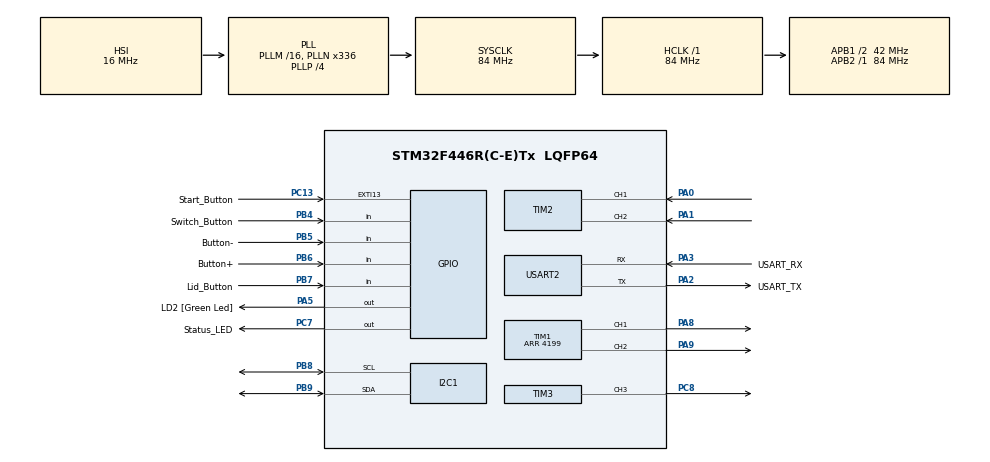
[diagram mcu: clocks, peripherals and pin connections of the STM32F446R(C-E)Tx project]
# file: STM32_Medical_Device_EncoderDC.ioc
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Mcu.Family=STM32F4
Mcu.Name=STM32F446R(C-E)Tx
Mcu.Package=LQFP64
NVIC.EXTI15_10_IRQn=true\:0\:0\:false\:false\:true\:true\:true\:true
NVIC.PriorityGroup=NVIC_PRIORITYGROUP_4
NVIC.TIM6_DAC_IRQn=true\:1\:0\:true\:false\:true\:true\:true\:true
PA0-WKUP.Signal=S_TIM2_CH1_ETR
PA1.Signal=S_TIM2_CH2
PA13.GPIO_Label=TMS
PA13.Mode=Serial_Wire
PA13.Signal=SYS_JTMS-SWDIO
PA14.GPIO_Label=TCK
PA14.Mode=Serial_Wire
PA14.Signal=SYS_JTCK-SWCLK
PA2.GPIO_Label=USART_TX
PA2.Mode=Asynchronous
PA2.Signal=USART2_TX
PA3.GPIO_Label=USART_RX
PA3.Mode=Asynchronous
PA3.Signal=USART2_RX
PA5.GPIO_Label=LD2 [Green Led]
PA5.Signal=GPIO_Output
PA8.Signal=S_TIM1_CH1
PA9.Signal=S_TIM1_CH2
PB3.GPIO_Label=SWO
PB3.Signal=SYS_JTDO-SWO
PB4.GPIO_Label=Switch_Button
PB4.GPIO_PuPd=GPIO_PULLUP
PB4.Signal=GPIO_Input
PB5.GPIO_Label=Button-
PB5.GPIO_PuPd=GPIO_PULLUP
PB5.Signal=GPIO_Input
PB6.GPIO_Label=Button+
PB6.GPIO_PuPd=GPIO_PULLUP
PB6.Signal=GPIO_Input
PB7.GPIO_Label=Lid_Button
PB7.GPIO_PuPd=GPIO_PULLUP
PB7.Signal=GPIO_Input
PB8.Mode=I2C
PB8.Signal=I2C1_SCL
PB9.Mode=I2C
PB9.Signal=I2C1_SDA
PC13.GPIO_Label=Start_Button
PC13.GPIO_ModeDefaultEXTI=GPIO_MODE_IT_FALLING
PC13.Signal=GPXTI13
PC14-OSC32_IN.Mode=LSE-External-Oscillator
PC14-OSC32_IN.Signal=RCC_OSC32_IN
PC15-OSC32_OUT.Mode=LSE-External-Oscillator
PC15-OSC32_OUT.Signal=RCC_OSC32_OUT
PC7.GPIO_Label=Status_LED
PC7.Signal=GPIO_Output
PC8.Signal=S_TIM3_CH3
PH0-OSC_IN.Mode=HSE-External-Oscillator
PH0-OSC_IN.Signal=RCC_OSC_IN
PH1-OSC_OUT.Mode=HSE-External-Oscillator
PH1-OSC_OUT.Signal=RCC_OSC_OUT
ProjectManager.HeapSize=0x200
ProjectManager.StackSize=0x400
ProjectManager.TargetToolchain=CMake
RCC.48MHZClocksFreq_Value=84000000
RCC.AHBFreq_Value=84000000
RCC.APB1CLKDivider=RCC_HCLK_DIV2
RCC.APB1Freq_Value=42000000
RCC.APB1TimFreq_Value=84000000
RCC.APB2Freq_Value=84000000
RCC.APB2TimFreq_Value=84000000
RCC.CortexFreq_Value=84000000
RCC.FLatency-AdvancedSettings=FLASH_LATENCY_2
RCC.HCLKFreq_Value=84000000
RCC.HSE_VALUE=8000000
RCC.HSI_VALUE=16000000
RCC.PLLN=336
RCC.PLLP=RCC_PLLP_DIV4
RCC.SYSCLKFreq_VALUE=84000000
RCC.SYSCLKSource=RCC_SYSCLKSOURCE_PLLCLK
RCC.USBFreq_Value=168000000
RCC.VCOOutputFreq_Value=336000000
SH.S_TIM1_CH1.0=TIM1_CH1,PWM Generation1 CH1
SH.S_TIM1_CH2.0=TIM1_CH2,PWM Generation2 CH2
SH.S_TIM2_CH1_ETR.0=TIM2_CH1,Encoder_Interface
SH.S_TIM2_CH2.0=TIM2_CH2,Encoder_Interface
SH.S_TIM3_CH3.0=TIM3_CH3,PWM Generation3 CH3
TIM1.Channel-PWM\ Generation1\ CH1=TIM_CHANNEL_1
TIM1.Channel-PWM\ Generation2\ CH2=TIM_CHANNEL_2
TIM1.Period=4199
TIM2.EncoderMode=TIM_ENCODERMODE_TI12
TIM2.IC1Filter=15
TIM2.IC2Filter=15
TIM3.Channel-PWM\ Generation3\ CH3=TIM_CHANNEL_3
TIM3.Period=59999
TIM3.Prescaler=27
TIM6.Period=59999
TIM6.Prescaler=13
USART2.VirtualMode=VM_ASYNC
VP_TIM1_VS_ClockSourceINT.Mode=Internal
VP_TIM3_VS_ClockSourceINT.Mode=Internal
VP_TIM6_VS_ClockSourceINT.Mode=Enable_Timer
board=NUCLEO-F446RE

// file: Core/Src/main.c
/* USER CODE BEGIN Header */
/**
  ******************************************************************************
  * @file           : main.c
  * @brief          : Main program body
  ******************************************************************************
  * @attention
  *
  * Copyright (c) 2026 STMicroelectronics.
  * All rights reserved.
  *
  * This software is licensed under terms that can be found in the LICENSE file
  * in the root directory of this software component.
  * If no LICENSE file comes with this software, it is provided AS-IS.
  *
  ******************************************************************************
  */
/* USER CODE END Header */
#include "main.h"
#include "i2c.h"
#include "tim.h"
#include "usart.h"
#include "gpio.h"

/* USER CODE BEGIN Includes */
#include "buttons.h"
#include "pid.h"
#include "stdbool.h"
#include "E-STOP.h"
#include "state.h"
#include "display.h"
/* USER CODE END Includes */

/* USER CODE BEGIN PV */

// **** ENCODER ****
volatile uint32_t uwDirection = 0;
volatile int32_t  iCount = 0;
volatile float rpm = 0.0f;
static int32_t prevCount = 0; // previous encoder count, used to compute delta for speed calculation

// **** LID ****
volatile bool lid_open = false; // is the lid open or not? true for lid open and false for locked -> the value of that variable is checked during the first 10 ms of the program, so value assignment does not matter (however "false" is safer theoretically)

// **** SYSTEM STATUS AND EDIT MODE ****
volatile SystemStatus_t systemStatus = IDLE;
volatile EditMode_t     editMode    = EDIT_SPEED;

// **** USER DESIRED PARAMETERS ****
// Desired DC motor speed
volatile int16_t        targetRPM   = 0;
// Desired DC motor work time in a single task
volatile int16_t        targetTimeSec = 0;

// **** DC MOTOR ****
#define MAX_DC_SPEED 330 // Pololu 4752 dataSheet: Rotational speed at 12 V power supply: 330 rpm

// **** PID ramp ****
#define RAMP_RATE_RPM_PER_S   60.0f // max rate of change of the setpoint (RPM per second)
static float rampedSetpoint = 0.0f; // current ramped setpoint, output of Ramp_Update

// **** TIME-BASED AUTO-STOP ****
volatile uint32_t runStartTick = 0; // timestamp (HAL_GetTick) of when RUNNING started, used to measure elapsed time
volatile uint8_t stopping = 0; // 0/1 - 1 indicates that the DC motor is slowing down to 0 rpm

// **** SERVO ****
volatile uint32_t ServoStartTick = 0; // variable for servo delay counter
volatile uint8_t servoPending = 0; // flag to notify servo if the machine finished and servo can now wait its own delay till it is opened
volatile bool servoLocked; // current commanded position of the lock servo (true = locked, false = open) -> this is only a flag for OLED display
#define SERVO_OPEN_DELAY 10000 // How much time must pass for servo to open after the machine finished its work?
#define SERVO_MAX_WAIT 60000 // Max wait time for the motor to stop; servo opens after this time even if the motor hasn't fully stopped yet
#define SERVO_PWM_OPEN 3000 // PWM value for open servo lock
#define SERVO_PWM_LOCKED 6000 // PWM value for closed servo lock

/* USER CODE END PV */

void SystemClock_Config(void);

int main(void)
{

  /* MCU Configuration--------------------------------------------------------*/

  /* Reset of all peripherals, Initializes the Flash interface and the Systick. */
  HAL_Init();

  /* Configure the system clock */
  SystemClock_Config();

  /* Initialize all configured peripherals */
  MX_GPIO_Init();
  MX_USART2_UART_Init();
  MX_TIM1_Init();
  MX_I2C1_Init();
  MX_TIM2_Init();
  MX_TIM6_Init();
  MX_TIM3_Init();
  /* USER CODE BEGIN 2 */

  /* Start the encoder interface */
  HAL_TIM_Encoder_Start(&htim2, TIM_CHANNEL_ALL);

  /* Start TIM6 in interrupt mode */
  HAL_TIM_Base_Start_IT(&htim6);
  HAL_TIM_Base_Start(&htim3);

  /* Start PWM channels for the motor driver (IN1/IN2) */
  HAL_TIM_PWM_Start(&htim1, TIM_CHANNEL_1);
  HAL_TIM_PWM_Start(&htim1, TIM_CHANNEL_2);
  HAL_TIM_PWM_Start(&htim3, TIM_CHANNEL_3);

  // Always start the system with the lock open - never assume the servo's physical position
  __HAL_TIM_SET_COMPARE(&htim3, TIM_CHANNEL_3, SERVO_PWM_OPEN);
  servoLocked = false;

  Display_Init();

  /* USER CODE END 2 */

  /* Infinite loop */
  /* USER CODE BEGIN WHILE */
  while (1)
  {

    Display_Update();

    /* USER CODE END WHILE */

  }
}

void SystemClock_Config(void)
{
  RCC_OscInitTypeDef RCC_OscInitStruct = {0};
  RCC_ClkInitTypeDef RCC_ClkInitStruct = {0};

  /** Configure the main internal regulator output voltage
  */
  __HAL_RCC_PWR_CLK_ENABLE();
  __HAL_PWR_VOLTAGESCALING_CONFIG(PWR_REGULATOR_VOLTAGE_SCALE3);

  /** Initializes the RCC Oscillators according to the specified parameters
  * in the RCC_OscInitTypeDef structure.
  */
  RCC_OscInitStruct.OscillatorType = RCC_OSCILLATORTYPE_HSI;
  RCC_OscInitStruct.HSIState = RCC_HSI_ON;
  RCC_OscInitStruct.HSICalibrationValue = RCC_HSICALIBRATION_DEFAULT;
  RCC_OscInitStruct.PLL.PLLState = RCC_PLL_ON;
  RCC_OscInitStruct.PLL.PLLSource = RCC_PLLSOURCE_HSI;
  RCC_OscInitStruct.PLL.PLLM = 16;
  RCC_OscInitStruct.PLL.PLLN = 336;
  RCC_OscInitStruct.PLL.PLLP = RCC_PLLP_DIV4;
  RCC_OscInitStruct.PLL.PLLQ = 2;
  RCC_OscInitStruct.PLL.PLLR = 2;
  if (HAL_RCC_OscConfig(&RCC_OscInitStruct) != HAL_OK)
  {
    Error_Handler();
  }

  /** Initializes the CPU, AHB and APB buses clocks
  */
  RCC_ClkInitStruct.ClockType = RCC_CLOCKTYPE_HCLK|RCC_CLOCKTYPE_SYSCLK
                              |RCC_CLOCKTYPE_PCLK1|RCC_CLOCKTYPE_PCLK2;
  RCC_ClkInitStruct.SYSCLKSource = RCC_SYSCLKSOURCE_PLLCLK;
  RCC_ClkInitStruct.AHBCLKDivider = RCC_SYSCLK_DIV1;
  RCC_ClkInitStruct.APB1CLKDivider = RCC_HCLK_DIV2;
  RCC_ClkInitStruct.APB2CLKDivider = RCC_HCLK_DIV1;

  if (HAL_RCC_ClockConfig(&RCC_ClkInitStruct, FLASH_LATENCY_2) != HAL_OK)
  {
    Error_Handler();
  }
}

/* USER CODE BEGIN 4 */

#define COUNTS_PER_REV_OUTPUT   1920.0f   //  64 CPR x 30:1 gearbox Pololu datasheet
#define SAMPLE_TIME_S           0.01f     // 100 Hz from TIM6 -> 0,01 s

// TIM6 callback (100 Hz) - computes direction, position and motor RPM
void HAL_TIM_PeriodElapsedCallback(TIM_HandleTypeDef *htim)
{

// **** RPM CALCULATION ****

if (htim->Instance == TIM6) {

  uwDirection = __HAL_TIM_IS_TIM_COUNTING_DOWN(&htim2);
  iCount = (int32_t)__HAL_TIM_GET_COUNTER(&htim2) / 4;

  int32_t delta = iCount - prevCount;
  prevCount = iCount;

  rpm = (delta / COUNTS_PER_REV_OUTPUT) * (60.0f / SAMPLE_TIME_S);
}

// **** LID CHECK ****

lid_open = HAL_GPIO_ReadPin(Lid_Button_GPIO_Port, Lid_Button_Pin);

// Set systemStatus to E-STOP and zero the PWM signal if someone managed to open the lid while the system is RUNNING
if (systemStatus == RUNNING && lid_open) {
// Initialize stop of DC motor
TriggerEStop();
}

// **** BUTTONS HANDLE ****

// Enable the change of the parameters only if the system is in IDLE
if (systemStatus == IDLE) {

// Change of the edit mode with switch_button
if (Button_Update(&btnSwitch)) {
  editMode = (editMode == EDIT_SPEED) ? EDIT_TIME : EDIT_SPEED;
}
// Change of the rpm and work time with Button+ and Button-
if (Button_Update(&btnPlus)) {
  if (editMode == EDIT_SPEED) {
    if (targetRPM < 6000) {
    targetRPM += 10;
    }
  }
 else {
  if (targetTimeSec < 3600) {
    targetTimeSec += 60;
  }
}
}
if (Button_Update(&btnMinus)) {
  if (editMode == EDIT_SPEED) {
    if (targetRPM >= 10) {
      targetRPM -= 10;
    }
  }
  else {
    if (targetTimeSec >= 60) {
      targetTimeSec -= 60;
    }
  }
}
}

// **** PWM HANDLE ****

if (systemStatus == RUNNING) {

  // Check if the configured run time has elapsed, and if so, start the smooth stop
  if (!stopping)  {
    uint32_t elapsedSec = (HAL_GetTick() - runStartTick) / 1000;
    if (elapsedSec >= (uint32_t)targetTimeSec) {
      stopping = 1;
    }
  }
  float effectiveTarget = stopping ? 0.0f : (float)targetRPM;

  // Move the setpoint gradually, smoothly towards effectiveTarget instead of step change
  rampedSetpoint = Ramp_Update(rampedSetpoint, effectiveTarget, RAMP_RATE_RPM_PER_S, SAMPLE_TIME_S);
  // Compare the rampedSetpoint (goal for right now) with the actual measured speed
  float pidOutput = PID_Compute(rampedSetpoint, rpm);

  /* Check systemStatus again right before writing to CCR - if EXTI (higher priority than this callback) just fired and switched to E_STOP, it already zeroed CCR; this re-check prevents the write below from overwriting that zero */
  if (systemStatus == RUNNING) {
  if (pidOutput > 0) {
    __HAL_TIM_SET_COMPARE(&htim1, TIM_CHANNEL_1, (uint32_t)pidOutput);
    __HAL_TIM_SET_COMPARE(&htim1, TIM_CHANNEL_2, 0);
  }
  else {
    __HAL_TIM_SET_COMPARE(&htim1, TIM_CHANNEL_1, 0);
    __HAL_TIM_SET_COMPARE(&htim1, TIM_CHANNEL_2, 0);   // never reverse
  }

  // Finish the smooth stop and return to IDLE once rampedSetpoint has reached ~0
  if (stopping && rampedSetpoint <= 0.5f) {
    systemStatus = IDLE;
    stopping = 0;
    __HAL_TIM_SET_COMPARE(&htim1, TIM_CHANNEL_1, 0);
    __HAL_TIM_SET_COMPARE(&htim1, TIM_CHANNEL_2, 0);
      ServoStartTick = HAL_GetTick();
      servoPending = 1;
    }
  }
}

// **** SERVO OPEN DELAY ****

// Wait for the set time before opening the lock
if (servoPending) {
  uint32_t now = HAL_GetTick();
  bool timedOut = (now - ServoStartTick >= SERVO_MAX_WAIT);
  bool motorStopped = (rpm < 1.0f && rpm > -1.0f);

/* Open once the minimum delay has passed AND either the motor is confirmed stopped, or the max wait timed out (this is an extra protection in case rpm never settles, e.g. sensor noise) */
  if (now - ServoStartTick >= SERVO_OPEN_DELAY && (motorStopped || timedOut)) {

    __HAL_TIM_SET_COMPARE(&htim3, TIM_CHANNEL_3, SERVO_PWM_OPEN);
    /* PSC=27, ARR=59999
    tick = 28 / 84 000 000 ≈ 0,333 µs
    For example: 0,333µs × 3000 = 999µs ≈ 1ms
    0°   → 3000 (1ms)  = SERVO_PWM_OPEN
    90°  → 4500 (1,5ms) = unused
    180° → 6000 (2 ms) = SERVO_PWM_LOCKED */
    servoLocked = false;
    servoPending = 0;
  }
}

}

// **** SYSTEM STATE MACHINE ****

// This function in ISR is used to start or stop the system (and to handle the state machine)
void HAL_GPIO_EXTI_Callback(uint16_t GPIO_Pin)
{
  static uint32_t last_press = 0;

  if (GPIO_Pin == Start_Button_Pin) {

    uint32_t now = HAL_GetTick();
    if (now - last_press < 200) return;
    last_press = now;

    // Pressing the button stops the system if it is in RUNNING state
    if (systemStatus == RUNNING) {
    // Initialize stop of DC motor
    TriggerEStop();
    }
    // Pressing the button starts the system if it is in IDLE state, resets the ramp/timer state for a fresh run and also locks the machine with servo
    else if (systemStatus == IDLE) {
      if (!lid_open) {
        if (targetRPM != 0 && targetTimeSec != 0) {
        // Lock the servo, and cancel any pending "open" countdown left over from a previous cycle
      __HAL_TIM_SET_COMPARE(&htim3, TIM_CHANNEL_3, SERVO_PWM_LOCKED);
      servoLocked = true;
      servoPending = 0;
      systemStatus = RUNNING;
      rampedSetpoint = 0.0f;
      runStartTick = HAL_GetTick();
      stopping = 0;
        }
        else {
          // User did not specify desired RPM or work time
          Display_ShowMessage("SET RPM AND TIME");
        }
    }
    else {
      // lid is open - just ignore this request
      Display_ShowMessage("CLOSE THE LID");
    }
  }
    else {
      // Require a separate press to leave E_STOP - won't jump straight back to RUNNING
      systemStatus = IDLE;
    }
  }
}

/* USER CODE END 4 */

void Error_Handler(void)
{
  __disable_irq();
  while (1)
  {
  }
}
